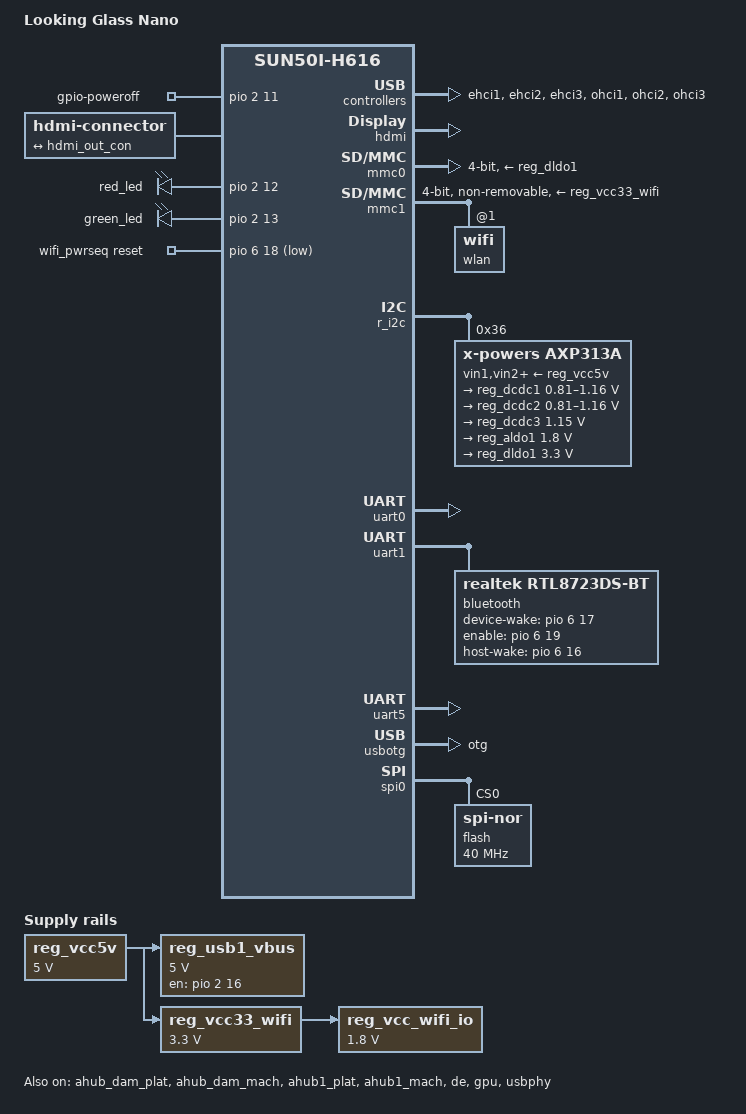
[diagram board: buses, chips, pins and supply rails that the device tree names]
// SPDX-License-Identifier: (GPL-2.0+ or MIT)
/*
 * Author: piotr.oniszczuk@gmail.com
 */

/dts-v1/;

#include "sun50i-h616.dtsi"
#include <dt-bindings/gpio/gpio.h>
#include <dt-bindings/interrupt-controller/arm-gic.h>
#include <dt-bindings/leds/common.h>

/ {
	model = "Looking Glass Nano";
	compatible = "lookingglass,nano", "allwinner,sun50i-h616";

	aliases {
		mmc0 = &mmc0;
		mmc1 = &mmc1;
		ethernet0 = &wlan;
		serial0 = &uart0;
		serial5 = &uart5;
	};

	chosen {
		stdout-path = "serial0:115200n8";
	};

	gpio-poweroff {
		compatible = "gpio-poweroff";
		gpios = <&pio 2 11 GPIO_ACTIVE_HIGH>;
		timeout-ms = <3000>;
	};

	connector {
		compatible = "hdmi-connector";
		type = "d";

		port {
			hdmi_con_in: endpoint {
				remote-endpoint = <&hdmi_out_con>;
			};
		};
	};

	leds: leds {
		compatible = "gpio-leds";

		led-red {
			function = LED_FUNCTION_DISK_ACTIVITY;
			label = "red_led";
			gpios = <&pio 2 12 GPIO_ACTIVE_HIGH>;
			linux,default-trigger = "mmc0";
		};

		led-green {
			function = LED_FUNCTION_STATUS;
			label = "green_led";
			gpios = <&pio 2 13 GPIO_ACTIVE_HIGH>;
			linux,default-trigger = "heartbeat";
		};
	};

	reg_vcc5v: vcc5v {
		compatible = "regulator-fixed";
		regulator-name = "vcc-5v";
		regulator-min-microvolt = <5000000>;
		regulator-max-microvolt = <5000000>;
		regulator-always-on;
	};

	reg_usb1_vbus: usb1-vbus {
		compatible = "regulator-fixed";
		regulator-name = "usb1-vbus";
		regulator-min-microvolt = <5000000>;
		regulator-max-microvolt = <5000000>;
		vin-supply = <&reg_vcc5v>;
		enable-active-high;
		gpio = <&pio 2 16 GPIO_ACTIVE_HIGH>;
		status = "okay";
	};

	reg_vcc33_wifi: vcc33-wifi {
		compatible = "regulator-fixed";
		regulator-name = "vcc33-wifi";
		regulator-min-microvolt = <3300000>;
		regulator-max-microvolt = <3300000>;
		regulator-always-on;
		vin-supply = <&reg_vcc5v>;
	};

	reg_vcc_wifi_io: vcc-wifi-io {
		compatible = "regulator-fixed";
		regulator-name = "vcc-wifi-io";
		regulator-min-microvolt = <1800000>;
		regulator-max-microvolt = <1800000>;
		regulator-always-on;
		vin-supply = <&reg_vcc33_wifi>;
	};

	wifi_pwrseq: wifi-pwrseq {
		compatible = "mmc-pwrseq-simple";
		reset-gpios = <&pio 6 18 GPIO_ACTIVE_LOW>;
	};
};

&ahub_dam_plat {
	status = "okay";
};

&ahub_dam_mach {
	status = "okay";
};

&ahub1_plat {
	status = "okay";
};

&ahub1_mach {
	status = "okay";
};

&cpu0 {
	cpu-supply = <&reg_dcdc2>;
	status = "okay";
};

&de {
	status = "okay";
};

&ehci1 {
	status = "okay";
};

&ehci2 {
	status = "okay";
};

&ehci3 {
	status = "okay";
};

&hdmi {
	hvcc-supply = <&reg_aldo1>;
	status = "okay";
};

&hdmi_out {
	hdmi_out_con: endpoint {
		remote-endpoint = <&hdmi_con_in>;
	};
};

&gpu {
	mali-supply = <&reg_dcdc1>;
	status = "okay";
};

&mmc0 {
	vmmc-supply = <&reg_dldo1>;
	broken-cd;
	bus-width = <4>;
	status = "okay";
};

&mmc1 {
	vmmc-supply = <&reg_vcc33_wifi>;
	vqmmc-supply = <&reg_vcc_wifi_io>;
	mmc-pwrseq = <&wifi_pwrseq>;
	bus-width = <4>;
	non-removable;
	mmc-ddr-1_8v;
	status = "okay";

	wlan: wifi@1 {
		reg = <1>;
	};
};

&ohci1 {
	status = "okay";
};

&ohci2 {
	status = "okay";
};

&ohci3 {
	status = "okay";
};

&r_i2c {
	status = "okay";

	axp313a: pmic@36 {
		compatible = "x-powers,axp313a";
		reg = <0x36>;
		wakeup-source;
		vin1-supply = <&reg_vcc5v>;
		vin2-supply = <&reg_vcc5v>;
		vin3-supply = <&reg_vcc5v>;

		regulators {
			reg_dcdc1: dcdc1 {
				regulator-always-on;
				regulator-min-microvolt = <810000>;
				regulator-max-microvolt = <1160000>;
				regulator-name = "vdd-gpu";
			};

			reg_dcdc2: dcdc2 {
				regulator-always-on;
				regulator-min-microvolt = <810000>;
				regulator-max-microvolt = <1160000>;
				regulator-name = "vdd-cpu";
			};

			reg_dcdc3: dcdc3 {
				regulator-always-on;
				regulator-min-microvolt = <1150000>;
				regulator-max-microvolt = <1150000>;
				regulator-name = "vdd-dram";
			};

			reg_aldo1: aldo1 {
				regulator-always-on;
				regulator-min-microvolt = <1800000>;
				regulator-max-microvolt = <1800000>;
				regulator-name = "vcc1v8";
			};

			reg_dldo1: dldo1 {
				regulator-always-on;
				regulator-min-microvolt = <3300000>;
				regulator-max-microvolt = <3300000>;
				regulator-name = "vcc3v3";
			};
		};
	};
};

&uart0 {
	pinctrl-names = "default";
	pinctrl-0 = <&uart0_ph_pins>;
	status = "okay";
};

&uart1 {
	pinctrl-names = "default";
	pinctrl-0 = <&uart1_pins>, <&uart1_rts_cts_pins>;
	uart-has-rtscts;
	status = "okay";

	bluetooth {
		compatible = "realtek,rtl8723ds-bt";
		device-wake-gpios = <&pio 6 17 GPIO_ACTIVE_HIGH>;
		enable-gpios = <&pio 6 19 GPIO_ACTIVE_HIGH>;
		host-wake-gpios = <&pio 6 16 GPIO_ACTIVE_HIGH>;
	};
};

&uart5 {
	pinctrl-names = "default";
	pinctrl-0 = <&uart5_pins>;
	status = "okay";
};

&usbotg {
	dr_mode = "otg";
	status = "okay";
};

&usbphy {
	usb1_vbus-supply = <&reg_usb1_vbus>;
	status = "okay";
};

&spi0 {
	status = "okay";
	pinctrl-names = "default";
	pinctrl-0 = <&spi0_pins>, <&spi0_cs0_pin>;

	flash@0 {
		status = "okay";
		#address-cells = <1>;
		#size-cells = <1>;
		compatible = "jedec,spi-nor";
		reg = <0>;
		spi-max-frequency = <40000000>;
	};
};
